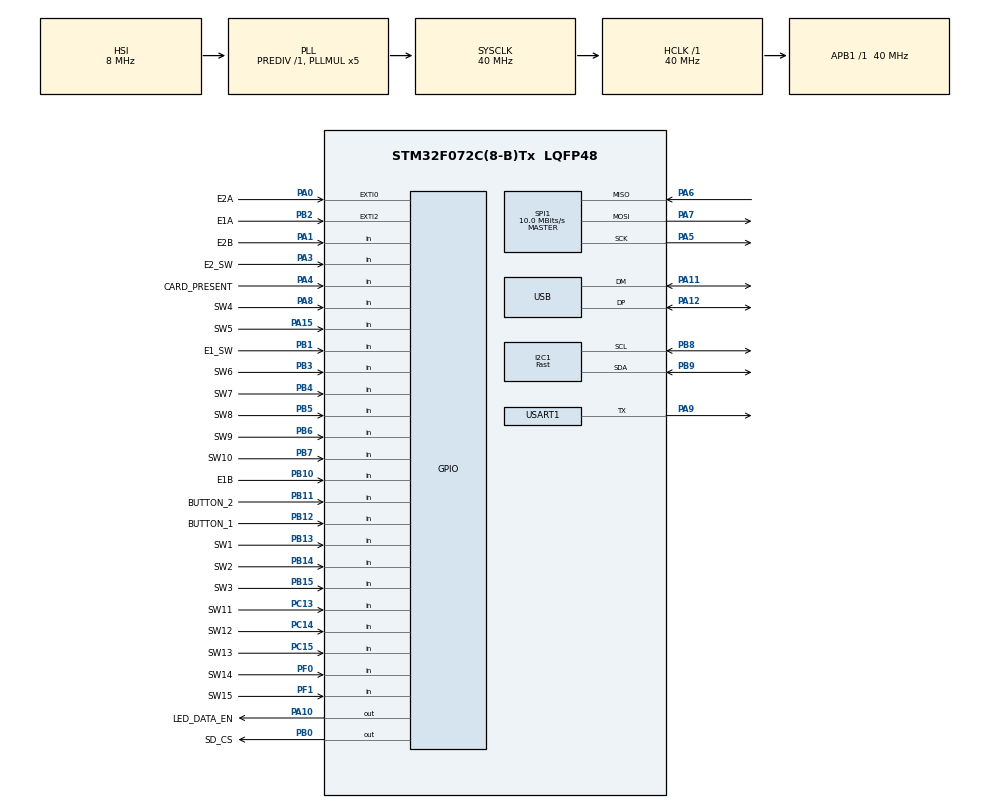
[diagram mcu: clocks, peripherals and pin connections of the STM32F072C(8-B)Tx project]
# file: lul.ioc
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FATFS._CODE_PAGE=1252
FATFS._FS_NORTC=1
FATFS._LFN_UNICODE=0
FATFS._MAX_LFN=64
FATFS._USE_FIND=0
FATFS._USE_LFN=1
FATFS._USE_MKFS=0
I2C1.I2C_Speed_Mode=I2C_Fast
I2C1.Timing=0x0000020B
Mcu.Family=STM32F0
Mcu.Name=STM32F072C(8-B)Tx
Mcu.Package=LQFP48
NVIC.EXTI0_1_IRQn=true\:0\:0\:false\:false\:true
NVIC.EXTI2_3_IRQn=true\:0\:0\:false\:false\:true
NVIC.USB_IRQn=true\:0\:0\:false\:false\:true
PA0.GPIO_Label=E2A
PA0.GPIO_ModeDefaultEXTI=GPIO_MODE_IT_RISING_FALLING
PA0.GPIO_PuPd=GPIO_PULLUP
PA0.Signal=GPXTI0
PA1.GPIO_Label=E2B
PA1.GPIO_PuPd=GPIO_PULLUP
PA1.Signal=GPIO_Input
PA10.GPIO_Label=LED_DATA_EN
PA10.Signal=GPIO_Output
PA11.Mode=Device
PA11.Signal=USB_DM
PA12.Mode=Device
PA12.Signal=USB_DP
PA13.Mode=Serial_Wire
PA13.Signal=SYS_SWDIO
PA14.Mode=Serial_Wire
PA14.Signal=SYS_SWCLK
PA15.GPIO_Label=SW5
PA15.GPIO_PuPd=GPIO_PULLUP
PA15.Signal=GPIO_Input
PA3.GPIO_Label=E2_SW
PA3.GPIO_PuPd=GPIO_PULLUP
PA3.Signal=GPIO_Input
PA4.GPIO_Label=CARD_PRESENT
PA4.GPIO_PuPd=GPIO_PULLUP
PA4.Signal=GPIO_Input
PA5.Mode=Full_Duplex_Master
PA5.Signal=SPI1_SCK
PA6.Mode=Full_Duplex_Master
PA6.Signal=SPI1_MISO
PA7.Mode=Full_Duplex_Master
PA7.Signal=SPI1_MOSI
PA8.GPIO_Label=SW4
PA8.GPIO_PuPd=GPIO_PULLUP
PA8.Signal=GPIO_Input
PA9.Mode=Half_duplex(single_wire_mode)
PA9.Signal=USART1_TX
PB0.GPIO_Label=SD_CS
PB0.GPIO_PuPd=GPIO_NOPULL
PB0.PinState=GPIO_PIN_SET
PB0.Signal=GPIO_Output
PB1.GPIO_Label=E1_SW
PB1.GPIO_PuPd=GPIO_PULLUP
PB1.Signal=GPIO_Input
PB10.GPIO_Label=E1B
PB10.GPIO_PuPd=GPIO_PULLUP
PB10.Signal=GPIO_Input
PB11.GPIO_Label=BUTTON_2
PB11.GPIO_PuPd=GPIO_PULLUP
PB11.Signal=GPIO_Input
PB12.GPIO_Label=BUTTON_1
PB12.GPIO_PuPd=GPIO_PULLUP
PB12.Signal=GPIO_Input
PB13.GPIO_Label=SW1
PB13.GPIO_PuPd=GPIO_PULLUP
PB13.Signal=GPIO_Input
PB14.GPIO_Label=SW2
PB14.GPIO_PuPd=GPIO_PULLUP
PB14.Signal=GPIO_Input
PB15.GPIO_Label=SW3
PB15.GPIO_PuPd=GPIO_PULLUP
PB15.Signal=GPIO_Input
PB2.GPIO_Label=E1A
PB2.GPIO_ModeDefaultEXTI=GPIO_MODE_IT_RISING_FALLING
PB2.GPIO_PuPd=GPIO_PULLUP
PB2.Signal=GPXTI2
PB3.GPIO_Label=SW6
PB3.GPIO_PuPd=GPIO_PULLUP
PB3.Signal=GPIO_Input
PB4.GPIO_Label=SW7
PB4.GPIO_PuPd=GPIO_PULLUP
PB4.Signal=GPIO_Input
PB5.GPIO_Label=SW8
PB5.GPIO_PuPd=GPIO_PULLUP
PB5.Signal=GPIO_Input
PB6.GPIO_Label=SW9
PB6.GPIO_PuPd=GPIO_PULLUP
PB6.Signal=GPIO_Input
PB7.GPIO_Label=SW10
PB7.GPIO_PuPd=GPIO_PULLUP
PB7.Signal=GPIO_Input
PB8.Mode=I2C
PB8.Signal=I2C1_SCL
PB9.Mode=I2C
PB9.Signal=I2C1_SDA
PC13.GPIO_Label=SW11
PC13.GPIO_PuPd=GPIO_PULLUP
PC13.Signal=GPIO_Input
PC14-OSC32_IN.GPIO_Label=SW12
PC14-OSC32_IN.GPIO_PuPd=GPIO_PULLUP
PC14-OSC32_IN.Signal=GPIO_Input
PC15-OSC32_OUT.GPIO_Label=SW13
PC15-OSC32_OUT.GPIO_PuPd=GPIO_PULLUP
PC15-OSC32_OUT.Signal=GPIO_Input
PF0-OSC_IN.GPIO_Label=SW14
PF0-OSC_IN.GPIO_PuPd=GPIO_PULLUP
PF0-OSC_IN.Signal=GPIO_Input
PF1-OSC_OUT.GPIO_Label=SW15
PF1-OSC_OUT.GPIO_PuPd=GPIO_PULLUP
PF1-OSC_OUT.Signal=GPIO_Input
ProjectManager.HeapSize=0x400
ProjectManager.StackSize=0x600
ProjectManager.TargetToolchain=MDK-ARM V5
RCC.AHBFreq_Value=40000000
RCC.APB1Freq_Value=40000000
RCC.APB1TimFreq_Value=40000000
RCC.HCLKFreq_Value=40000000
RCC.PLLMUL=RCC_PLL_MUL5
RCC.SYSCLKFreq_VALUE=40000000
RCC.SYSCLKSource=RCC_SYSCLKSOURCE_PLLCLK
RCC.Usart1ClockSelection=RCC_USART1CLKSOURCE_SYSCLK
SPI1.BaudRatePrescaler=SPI_BAUDRATEPRESCALER_4
SPI1.CalculateBaudRate=10.0 MBits/s
SPI1.DataSize=SPI_DATASIZE_8BIT
SPI1.Direction=SPI_DIRECTION_2LINES
SPI1.Mode=SPI_MODE_MASTER
SPI1.VirtualType=VM_MASTER
USART1.BaudRate=115200
USART1.Mode=MODE_TX
USART1.VirtualMode-Half_duplex(single_wire_mode)=VM_ASYNC
USART1.WordLength=WORDLENGTH_8B
USB_DEVICE.CLASS_NAME_FS=HID
USB_DEVICE.VirtualMode=Hid
USB_DEVICE.VirtualModeFS=Hid_FS
VP_FATFS_VS_Generic.Mode=User_defined
VP_USB_DEVICE_VS_USB_DEVICE_HID_FS.Mode=HID_FS
board=lul

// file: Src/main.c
/**
  ******************************************************************************
  * File Name          : main.c
  * Description        : Main program body
  ******************************************************************************
  * This notice applies to any and all portions of this file
  * that are not between comment pairs USER CODE BEGIN and
  * USER CODE END. Other portions of this file, whether
  * inserted by the user or by software development tools
  * are owned by their respective copyright owners.
  *
  * Copyright (c) 2017 STMicroelectronics International N.V.
  * All rights reserved.
  *
  * Redistribution and use in source and binary forms, with or without
  * modification, are permitted, provided that the following conditions are met:
  *
  * 1. Redistribution of source code must retain the above copyright notice,
  *    this list of conditions and the following disclaimer.
  * 2. Redistributions in binary form must reproduce the above copyright notice,
  *    this list of conditions and the following disclaimer in the documentation
  *    and/or other materials provided with the distribution.
  * 3. Neither the name of STMicroelectronics nor the names of other
  *    contributors to this software may be used to endorse or promote products
  *    derived from this software without specific written permission.
  * 4. This software, including modifications and/or derivative works of this
  *    software, must execute solely and exclusively on microcontroller or
  *    microprocessor devices manufactured by or for STMicroelectronics.
  * 5. Redistribution and use of this software other than as permitted under
  *    this license is void and will automatically terminate your rights under
  *    this license.
  *
  * THIS SOFTWARE IS PROVIDED BY STMICROELECTRONICS AND CONTRIBUTORS "AS IS"
  * AND ANY EXPRESS, IMPLIED OR STATUTORY WARRANTIES, INCLUDING, BUT NOT
  * LIMITED TO, THE IMPLIED WARRANTIES OF MERCHANTABILITY, FITNESS FOR A
  * PARTICULAR PURPOSE AND NON-INFRINGEMENT OF THIRD PARTY INTELLECTUAL PROPERTY
  * RIGHTS ARE DISCLAIMED TO THE FULLEST EXTENT PERMITTED BY LAW. IN NO EVENT
  * SHALL STMICROELECTRONICS OR CONTRIBUTORS BE LIABLE FOR ANY DIRECT, INDIRECT,
  * INCIDENTAL, SPECIAL, EXEMPLARY, OR CONSEQUENTIAL DAMAGES (INCLUDING, BUT NOT
  * LIMITED TO, PROCUREMENT OF SUBSTITUTE GOODS OR SERVICES; LOSS OF USE, DATA,
  * OR PROFITS; OR BUSINESS INTERRUPTION) HOWEVER CAUSED AND ON ANY THEORY OF
  * LIABILITY, WHETHER IN CONTRACT, STRICT LIABILITY, OR TORT (INCLUDING
  * NEGLIGENCE OR OTHERWISE) ARISING IN ANY WAY OUT OF THE USE OF THIS SOFTWARE,
  * EVEN IF ADVISED OF THE POSSIBILITY OF SUCH DAMAGE.
  *
  ******************************************************************************
  */
#include "main.h"
#include "stm32f0xx_hal.h"
#include "fatfs.h"
#include "usb_device.h"

/* USER CODE BEGIN Includes */
#include <stdio.h>
#include <string.h>
#include "usbd_hid.h"
#include "ssd1306.h"
#include "fonts.h"
#include "neopixel.h"
#include "buttons.h"
#include "keyboard.h"
#include "parser.h"
#include "shared.h"
#include "helpers.h"

/* USER CODE END Includes */

I2C_HandleTypeDef hi2c1;

SPI_HandleTypeDef hspi1;

UART_HandleTypeDef huart1;

/* USER CODE BEGIN PV */
/* Private variables ---------------------------------------------------------*/
char no_sd[] = "Please Insert SD card";

/* USER CODE END PV */

void SystemClock_Config(void);
static void MX_GPIO_Init(void);
static void MX_USART1_UART_Init(void);
static void MX_SPI1_Init(void);
static void MX_I2C1_Init(void);

/* USER CODE BEGIN PFP */
/* Private function prototypes -----------------------------------------------*/

/* USER CODE END PFP */

/* USER CODE BEGIN 0 */
int fputc(int ch, FILE *f)
{
    HAL_UART_Transmit(&huart1, (unsigned char *)&ch, 1, 100);
    return ch;
}
/* USER CODE END 0 */

int main(void)
{

  /* MCU Configuration----------------------------------------------------------*/

  /* Reset of all peripherals, Initializes the Flash interface and the Systick. */
  HAL_Init();

  /* Configure the system clock */
  SystemClock_Config();

  /* Initialize all configured peripherals */
  MX_GPIO_Init();
  MX_USART1_UART_Init();
  MX_SPI1_Init();
  MX_FATFS_Init();
  MX_I2C1_Init();
  MX_USB_DEVICE_Init();

  /* USER CODE BEGIN 2 */
  mount_result = f_mount(&sd_fs, "", 1);

  if(mount_result != 0)
    spi_set_speed_neopixel();
  uint8_t red_test[NEOPIXEL_COUNT];
  uint8_t green_test[NEOPIXEL_COUNT];
  uint8_t blue_test[NEOPIXEL_COUNT];
  memset(red_test, 0, NEOPIXEL_COUNT);
  memset(green_test, 16, NEOPIXEL_COUNT);
  memset(blue_test, 32, NEOPIXEL_COUNT);
  neopixel_show(red_test, green_test, blue_test);
  /* USER CODE END 2 */

  /* Infinite loop */
  /* USER CODE BEGIN WHILE */
  ssd1306_Init();
  if(mount_result)
  {
    ssd1306_Fill(Black);
    ssd1306_SetCursor(2, 32);
    ssd1306_WriteString(no_sd,Font_6x10,White);
    ssd1306_UpdateScreen();
    while(1);
  }
  change_profile(NEXT_PROFILE);
  while (1)
  {
  /* USER CODE END WHILE */

  /* USER CODE BEGIN 3 */
    keyboard_update();

    for (int i = 0; i < KEY_COUNT; ++i)
    	if(is_fresh_pressed(&button_status[i]))
      {
        printf("%d\n", i);
        if(i == 0)
          kb_test();
        else if(i == 7)
          parser_test();
        else if(i == 21) // -
          change_profile(PREV_PROFILE);
        else if(i == 22) // +
          change_profile(NEXT_PROFILE);

        service_fresh_press(&button_status[i]);
      }

    HAL_Delay(30);
  }
  /* USER CODE END 3 */

}

/** System Clock Configuration
*/
void SystemClock_Config(void)
{

  RCC_OscInitTypeDef RCC_OscInitStruct;
  RCC_ClkInitTypeDef RCC_ClkInitStruct;
  RCC_PeriphCLKInitTypeDef PeriphClkInit;

    /**Initializes the CPU, AHB and APB busses clocks
    */
  RCC_OscInitStruct.OscillatorType = RCC_OSCILLATORTYPE_HSI|RCC_OSCILLATORTYPE_HSI48;
  RCC_OscInitStruct.HSIState = RCC_HSI_ON;
  RCC_OscInitStruct.HSI48State = RCC_HSI48_ON;
  RCC_OscInitStruct.HSICalibrationValue = 16;
  RCC_OscInitStruct.PLL.PLLState = RCC_PLL_ON;
  RCC_OscInitStruct.PLL.PLLSource = RCC_PLLSOURCE_HSI;
  RCC_OscInitStruct.PLL.PLLMUL = RCC_PLL_MUL5;
  RCC_OscInitStruct.PLL.PREDIV = RCC_PREDIV_DIV1;
  if (HAL_RCC_OscConfig(&RCC_OscInitStruct) != HAL_OK)
  {
    _Error_Handler(__FILE__, __LINE__);
  }

    /**Initializes the CPU, AHB and APB busses clocks
    */
  RCC_ClkInitStruct.ClockType = RCC_CLOCKTYPE_HCLK|RCC_CLOCKTYPE_SYSCLK
                              |RCC_CLOCKTYPE_PCLK1;
  RCC_ClkInitStruct.SYSCLKSource = RCC_SYSCLKSOURCE_PLLCLK;
  RCC_ClkInitStruct.AHBCLKDivider = RCC_SYSCLK_DIV1;
  RCC_ClkInitStruct.APB1CLKDivider = RCC_HCLK_DIV1;

  if (HAL_RCC_ClockConfig(&RCC_ClkInitStruct, FLASH_LATENCY_1) != HAL_OK)
  {
    _Error_Handler(__FILE__, __LINE__);
  }

  PeriphClkInit.PeriphClockSelection = RCC_PERIPHCLK_USB|RCC_PERIPHCLK_USART1
                              |RCC_PERIPHCLK_I2C1;
  PeriphClkInit.Usart1ClockSelection = RCC_USART1CLKSOURCE_SYSCLK;
  PeriphClkInit.I2c1ClockSelection = RCC_I2C1CLKSOURCE_HSI;
  PeriphClkInit.UsbClockSelection = RCC_USBCLKSOURCE_HSI48;

  if (HAL_RCCEx_PeriphCLKConfig(&PeriphClkInit) != HAL_OK)
  {
    _Error_Handler(__FILE__, __LINE__);
  }

    /**Configure the Systick interrupt time
    */
  HAL_SYSTICK_Config(HAL_RCC_GetHCLKFreq()/1000);

    /**Configure the Systick
    */
  HAL_SYSTICK_CLKSourceConfig(SYSTICK_CLKSOURCE_HCLK);

  /* SysTick_IRQn interrupt configuration */
  HAL_NVIC_SetPriority(SysTick_IRQn, 0, 0);
}

/* I2C1 init function */
static void MX_I2C1_Init(void)
{

  hi2c1.Instance = I2C1;
  hi2c1.Init.Timing = 0x0000020B;
  hi2c1.Init.OwnAddress1 = 0;
  hi2c1.Init.AddressingMode = I2C_ADDRESSINGMODE_7BIT;
  hi2c1.Init.DualAddressMode = I2C_DUALADDRESS_DISABLE;
  hi2c1.Init.OwnAddress2 = 0;
  hi2c1.Init.OwnAddress2Masks = I2C_OA2_NOMASK;
  hi2c1.Init.GeneralCallMode = I2C_GENERALCALL_DISABLE;
  hi2c1.Init.NoStretchMode = I2C_NOSTRETCH_DISABLE;
  if (HAL_I2C_Init(&hi2c1) != HAL_OK)
  {
    _Error_Handler(__FILE__, __LINE__);
  }

    /**Configure Analogue filter
    */
  if (HAL_I2CEx_ConfigAnalogFilter(&hi2c1, I2C_ANALOGFILTER_ENABLE) != HAL_OK)
  {
    _Error_Handler(__FILE__, __LINE__);
  }

    /**Configure Digital filter
    */
  if (HAL_I2CEx_ConfigDigitalFilter(&hi2c1, 0) != HAL_OK)
  {
    _Error_Handler(__FILE__, __LINE__);
  }

}

/* SPI1 init function */
static void MX_SPI1_Init(void)
{

  hspi1.Instance = SPI1;
  hspi1.Init.Mode = SPI_MODE_MASTER;
  hspi1.Init.Direction = SPI_DIRECTION_2LINES;
  hspi1.Init.DataSize = SPI_DATASIZE_8BIT;
  hspi1.Init.CLKPolarity = SPI_POLARITY_LOW;
  hspi1.Init.CLKPhase = SPI_PHASE_1EDGE;
  hspi1.Init.NSS = SPI_NSS_SOFT;
  hspi1.Init.BaudRatePrescaler = SPI_BAUDRATEPRESCALER_4;
  hspi1.Init.FirstBit = SPI_FIRSTBIT_MSB;
  hspi1.Init.TIMode = SPI_TIMODE_DISABLE;
  hspi1.Init.CRCCalculation = SPI_CRCCALCULATION_DISABLE;
  hspi1.Init.CRCPolynomial = 7;
  hspi1.Init.CRCLength = SPI_CRC_LENGTH_DATASIZE;
  hspi1.Init.NSSPMode = SPI_NSS_PULSE_ENABLE;
  if (HAL_SPI_Init(&hspi1) != HAL_OK)
  {
    _Error_Handler(__FILE__, __LINE__);
  }

}

/* USART1 init function */
static void MX_USART1_UART_Init(void)
{

  huart1.Instance = USART1;
  huart1.Init.BaudRate = 115200;
  huart1.Init.WordLength = UART_WORDLENGTH_8B;
  huart1.Init.StopBits = UART_STOPBITS_1;
  huart1.Init.Parity = UART_PARITY_NONE;
  huart1.Init.Mode = UART_MODE_TX;
  huart1.Init.HwFlowCtl = UART_HWCONTROL_NONE;
  huart1.Init.OverSampling = UART_OVERSAMPLING_16;
  huart1.Init.OneBitSampling = UART_ONE_BIT_SAMPLE_DISABLE;
  huart1.AdvancedInit.AdvFeatureInit = UART_ADVFEATURE_NO_INIT;
  if (HAL_HalfDuplex_Init(&huart1) != HAL_OK)
  {
    _Error_Handler(__FILE__, __LINE__);
  }

}

/** Configure pins as
        * Analog
        * Input
        * Output
        * EVENT_OUT
        * EXTI
*/
static void MX_GPIO_Init(void)
{

  GPIO_InitTypeDef GPIO_InitStruct;

  /* GPIO Ports Clock Enable */
  __HAL_RCC_GPIOC_CLK_ENABLE();
  __HAL_RCC_GPIOF_CLK_ENABLE();
  __HAL_RCC_GPIOA_CLK_ENABLE();
  __HAL_RCC_GPIOB_CLK_ENABLE();

  /*Configure GPIO pin Output Level */
  HAL_GPIO_WritePin(SD_CS_GPIO_Port, SD_CS_Pin, GPIO_PIN_SET);

  /*Configure GPIO pin Output Level */
  HAL_GPIO_WritePin(LED_DATA_EN_GPIO_Port, LED_DATA_EN_Pin, GPIO_PIN_RESET);

  /*Configure GPIO pins : SW11_Pin SW12_Pin SW13_Pin */
  GPIO_InitStruct.Pin = SW11_Pin|SW12_Pin|SW13_Pin;
  GPIO_InitStruct.Mode = GPIO_MODE_INPUT;
  GPIO_InitStruct.Pull = GPIO_PULLUP;
  HAL_GPIO_Init(GPIOC, &GPIO_InitStruct);

  /*Configure GPIO pins : SW14_Pin SW15_Pin */
  GPIO_InitStruct.Pin = SW14_Pin|SW15_Pin;
  GPIO_InitStruct.Mode = GPIO_MODE_INPUT;
  GPIO_InitStruct.Pull = GPIO_PULLUP;
  HAL_GPIO_Init(GPIOF, &GPIO_InitStruct);

  /*Configure GPIO pin : E2A_Pin */
  GPIO_InitStruct.Pin = E2A_Pin;
  GPIO_InitStruct.Mode = GPIO_MODE_IT_RISING_FALLING;
  GPIO_InitStruct.Pull = GPIO_PULLUP;
  HAL_GPIO_Init(E2A_GPIO_Port, &GPIO_InitStruct);

  /*Configure GPIO pins : E2B_Pin E2_SW_Pin CARD_PRESENT_Pin SW4_Pin
                           SW5_Pin */
  GPIO_InitStruct.Pin = E2B_Pin|E2_SW_Pin|CARD_PRESENT_Pin|SW4_Pin
                          |SW5_Pin;
  GPIO_InitStruct.Mode = GPIO_MODE_INPUT;
  GPIO_InitStruct.Pull = GPIO_PULLUP;
  HAL_GPIO_Init(GPIOA, &GPIO_InitStruct);

  /*Configure GPIO pin : SD_CS_Pin */
  GPIO_InitStruct.Pin = SD_CS_Pin;
  GPIO_InitStruct.Mode = GPIO_MODE_OUTPUT_PP;
  GPIO_InitStruct.Pull = GPIO_NOPULL;
  GPIO_InitStruct.Speed = GPIO_SPEED_FREQ_LOW;
  HAL_GPIO_Init(SD_CS_GPIO_Port, &GPIO_InitStruct);

  /*Configure GPIO pins : E1_SW_Pin E1B_Pin BUTTON_2_Pin BUTTON_1_Pin
                           SW1_Pin SW2_Pin SW3_Pin SW6_Pin
                           SW7_Pin SW8_Pin SW9_Pin SW10_Pin */
  GPIO_InitStruct.Pin = E1_SW_Pin|E1B_Pin|BUTTON_2_Pin|BUTTON_1_Pin
                          |SW1_Pin|SW2_Pin|SW3_Pin|SW6_Pin
                          |SW7_Pin|SW8_Pin|SW9_Pin|SW10_Pin;
  GPIO_InitStruct.Mode = GPIO_MODE_INPUT;
  GPIO_InitStruct.Pull = GPIO_PULLUP;
  HAL_GPIO_Init(GPIOB, &GPIO_InitStruct);

  /*Configure GPIO pin : E1A_Pin */
  GPIO_InitStruct.Pin = E1A_Pin;
  GPIO_InitStruct.Mode = GPIO_MODE_IT_RISING_FALLING;
  GPIO_InitStruct.Pull = GPIO_PULLUP;
  HAL_GPIO_Init(E1A_GPIO_Port, &GPIO_InitStruct);

  /*Configure GPIO pin : LED_DATA_EN_Pin */
  GPIO_InitStruct.Pin = LED_DATA_EN_Pin;
  GPIO_InitStruct.Mode = GPIO_MODE_OUTPUT_PP;
  GPIO_InitStruct.Pull = GPIO_NOPULL;
  GPIO_InitStruct.Speed = GPIO_SPEED_FREQ_LOW;
  HAL_GPIO_Init(LED_DATA_EN_GPIO_Port, &GPIO_InitStruct);

  /* EXTI interrupt init*/
  HAL_NVIC_SetPriority(EXTI0_1_IRQn, 0, 0);
  HAL_NVIC_EnableIRQ(EXTI0_1_IRQn);

  HAL_NVIC_SetPriority(EXTI2_3_IRQn, 0, 0);
  HAL_NVIC_EnableIRQ(EXTI2_3_IRQn);

}

void _Error_Handler(char * file, int line)
{
  while(1)
  {
  }
}

/************************ (C) COPYRIGHT STMicroelectronics *****END OF FILE****/
